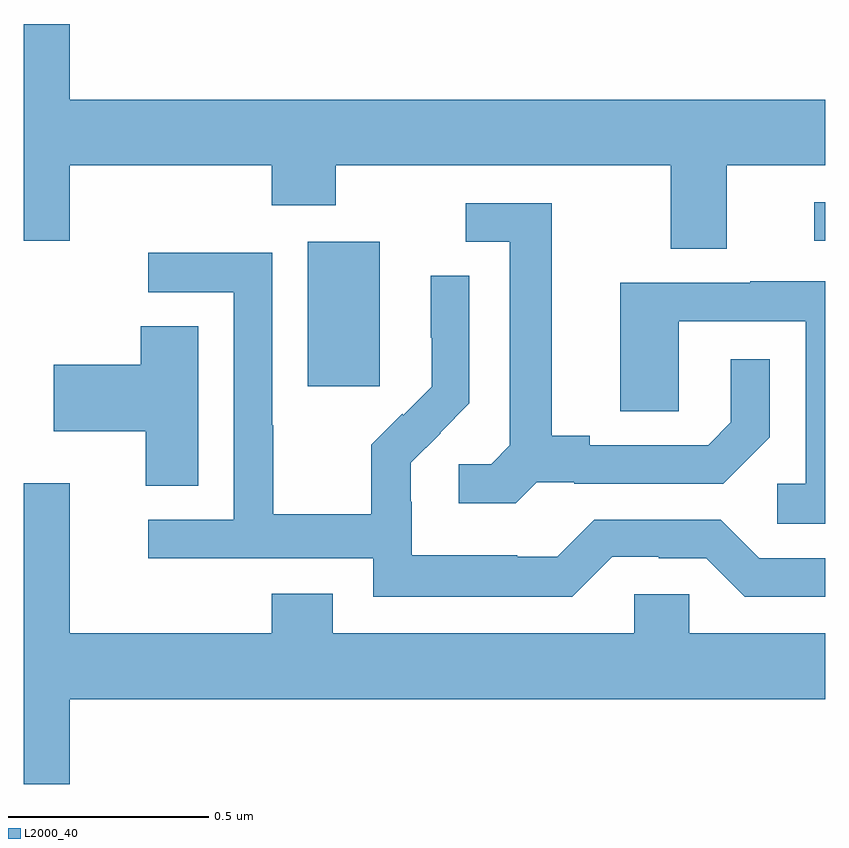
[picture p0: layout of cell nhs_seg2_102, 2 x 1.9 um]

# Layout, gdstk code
import gdstk
lib = gdstk.Library(unit=1e-6, precision=1e-09)
def R(c, l, rs):  # rectangles x0, y0, x1, y1
    for r in rs: c.add(gdstk.rectangle(r[:2], r[2:], *l))
def P(c, l, *ps):  # polygons
    for p in ps: c.add(gdstk.Polygon(p, *l))
L2000_40 = (2000, 40)

nhs_seg2_102 = lib.new_cell('nhs_seg2_102')
R(nhs_seg2_102, L2000_40, [(112.709,605.793,112.888,606.154), (113.973,606.156,114,606.252)])
P(nhs_seg2_102, L2000_40, [(113.755,606.344),(114,606.344),(114,606.508),(112.114,606.508),(112.114,606.697),(112,606.697),(112,606.156),(112.114,606.156),(112.114,606.344),(112.619,606.344),(112.619,606.245),(112.779,606.245),(112.779,606.344),(113.615,606.344),(113.615,606.136),(113.755,606.136)],
  [(113.28,605.553),(113.374,605.553),(113.374,605.55),(113.746,605.55),(113.862,605.666),(113.862,605.86),(113.765,605.86),(113.765,605.703),(113.708,605.646),(113.413,605.646),(113.413,605.669),(113.317,605.669),(113.317,606.249),(113.103,606.249),(113.103,606.153),(113.213,606.153),(113.213,605.645),(113.166,605.598),(113.085,605.598),(113.085,605.501),(113.228,605.501)],
  [(113.469,605.367),(113.585,605.367),(113.585,605.364),(113.703,605.364),(113.799,605.268),(114,605.268),(114,605.364),(113.835,605.364),(113.739,605.46),(113.424,605.46),(113.331,605.367),(113.231,605.367),(113.231,605.371),(112.968,605.371),(112.968,605.505),(112.966,605.505),(112.966,605.602),(113.04,605.676),(113.039,605.677),(113.112,605.75),(113.112,606.068),(113.016,606.068),(113.016,605.914),(113.018,605.914),(113.018,605.792),(112.947,605.721),(112.944,605.724),(112.867,605.647),(112.867,605.473),(112.623,605.473),(112.623,605.696),(112.62,605.696),(112.62,606.126),(112.311,606.126),(112.311,606.027),(112.524,606.027),(112.524,605.46),(112.311,605.46),(112.311,605.364),(112.872,605.364),(112.872,605.267),(113.369,605.267)],
  [(114,606.055),(113.813,606.055),(113.813,606.051),(113.489,606.051),(113.489,605.731),(113.634,605.731),(113.634,605.955),(113.952,605.955),(113.952,605.55),(113.88,605.55),(113.88,605.449),(114,605.449)],
  [(112.435,605.942),(112.292,605.942),(112.292,605.847),(112.074,605.847),(112.074,605.681),(112.304,605.681),(112.304,605.545),(112.435,605.545)],
  [(112.114,605.012),(114,605.012),(114,605.176),(113.661,605.176),(113.661,605.274),(113.523,605.274),(113.523,605.176),(112.771,605.176),(112.771,605.275),(112.619,605.275),(112.619,605.176),(112.114,605.176),(112.114,605.551),(112,605.551),(112,604.8),(112.114,604.8)])

lib.write_gds('nhs_seg2_102.gds')
